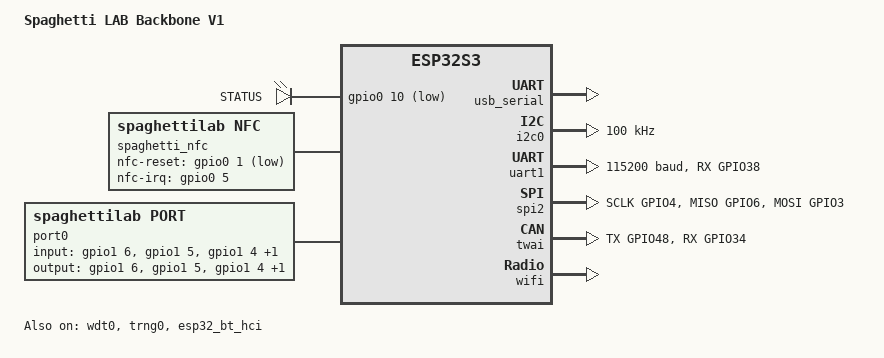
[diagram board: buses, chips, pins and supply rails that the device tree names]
/*
 * Spaghetti LAB Backbone V1, ESP32-S3-MINI-1 (U19) PROCPU.
 * Pins from hardware/backbone/backbone.kicad_sch.
 */

/dts-v1/;

#include <espressif/esp32s3/esp32s3_mini_n8.dtsi>
#include <espressif/partitions_0x0_default.dtsi>
#include <zephyr/dt-bindings/pinctrl/esp-pinctrl-common.h>
#include <zephyr/dt-bindings/pinctrl/esp32s3-pinctrl.h>
#include <zephyr/dt-bindings/pinctrl/esp32s3-gpio-sigmap.h>

/ {
	model = "Spaghetti LAB Backbone V1";
	compatible = "spaghettilab,backbone-v1", "espressif,esp32s3";

	chosen {
		zephyr,sram = &sram1;
		zephyr,console = &usb_serial;
		zephyr,shell-uart = &usb_serial;
		zephyr,flash = &flash0;
		zephyr,code-partition = &slot0_partition;
		zephyr,uart-mcumgr = &uart1;
		zephyr,bt-hci = &esp32_bt_hci;
	};

	aliases {
		i2c-0 = &i2c0;
		led0 = &status_led;
		watchdog0 = &wdt0;
	};

	leds {
		compatible = "gpio-leds";

		/*
		 * D5 LED0603-RD, cathode on GPIO10, active low.
		 * Single red status LED; there is no RGB / SK6812 on this board.
		 */
		status_led: status_led {
			gpios = <&gpio0 10 GPIO_ACTIVE_LOW>;
			label = "STATUS";
		};
	};

	/*
	 * ST25R100 U15 control lines. SPI wires live on spi2 / nfc_spi_default.
	 * RST GPIO1, IRQ GPIO5, CS GPIO2 (cs-gpios on spi2).
	 */
	spaghetti_nfc: spaghetti_nfc {
		compatible = "spaghettilab,nfc";
		nfc-reset-gpios = <&gpio0 1 GPIO_ACTIVE_LOW>;
		nfc-irq-gpios = <&gpio0 5 GPIO_ACTIVE_HIGH>;
	};

	spaghetti_ports {
		compatible = "simple-bus";
		#address-cells = <1>;
		#size-cells = <0>;

		/* J8 A0/A1 GPIO38/37, J10 A2/A3 GPIO36/35. I2C/maintenance on A0/A1. */
		port0: port@0 {
			compatible = "spaghettilab,port";
			reg = <0>;
			i2c = <&i2c0>;
			input-gpios = <&gpio1 6 GPIO_ACTIVE_HIGH>,
				      <&gpio1 5 GPIO_ACTIVE_HIGH>,
				      <&gpio1 4 GPIO_ACTIVE_HIGH>,
				      <&gpio1 3 GPIO_ACTIVE_HIGH>;
			output-gpios = <&gpio1 6 GPIO_ACTIVE_HIGH>,
				       <&gpio1 5 GPIO_ACTIVE_HIGH>,
				       <&gpio1 4 GPIO_ACTIVE_HIGH>,
				       <&gpio1 3 GPIO_ACTIVE_HIGH>;
			status = "okay";
		};

		/* SN65HVD230 U2: TX GPIO48, RX GPIO34. */
		port1: port@1 {
			compatible = "spaghettilab,port";
			reg = <1>;
			can = <&twai>;
			status = "okay";
		};
	};

	spaghetti_flows {
		compatible = "simple-bus";
		#address-cells = <1>;
		#size-cells = <0>;

		flow0: flow@0 {
			compatible = "spaghettilab,flow";
			reg = <0>;
			port = <&port0>;
			direction = "bidirectional";
			signal-count = <5>;
			function-bay-count = <0>;
			status = "okay";
		};

		flow1: flow@1 {
			compatible = "spaghettilab,flow";
			reg = <1>;
			port = <&port1>;
			direction = "bidirectional";
			signal-count = <5>;
			function-bay-count = <0>;
			status = "okay";
		};
	};

	maintenance_link0: maintenance-link {
		compatible = "spaghettilab,maintenance-link";
		normal-bus = <&i2c0>;
		maintenance-uart = <&uart1>;
		bootstrap-window-ms = <500>;
		status = "okay";
	};
};

&pinctrl {
	spaghetti_i2c0_default: spaghetti_i2c0_default {
		group1 {
			pinmux = <I2C0_SDA_GPIO38>, <I2C0_SCL_GPIO37>;
			bias-pull-up;
			drive-open-drain;
			output-high;
		};
	};

	spaghetti_uart1_maintenance: spaghetti_uart1_maintenance {
		group1 {
			pinmux = <UART1_RX_GPIO38>, <UART1_TX_GPIO37>;
		};
	};

	spaghetti_uart1_probe: spaghetti_uart1_probe {
		group1 {
			pinmux = <UART1_RX_GPIO38>;
			bias-pull-up;
		};
	};

	/* ST25R100 U15: SCK GPIO4, MOSI GPIO3, MISO GPIO6. CS GPIO2 is cs-gpios. */
	nfc_spi_default: nfc_spi_default {
		group1 {
			pinmux = <SPIM2_SCLK_GPIO4>, <SPIM2_MISO_GPIO6>;
		};

		group2 {
			pinmux = <SPIM2_MOSI_GPIO3>;
			output-low;
		};
	};

	spaghetti_twai_default: spaghetti_twai_default {
		group1 {
			pinmux = <TWAI_TX_GPIO48>, <TWAI_RX_GPIO34>;
		};
	};
};

&usb_serial {
	status = "okay";
};

&i2c0 {
	status = "okay";
	clock-frequency = <I2C_BITRATE_STANDARD>;
	pinctrl-0 = <&spaghetti_i2c0_default>;
	pinctrl-names = "default";
};

&uart1 {
	status = "okay";
	current-speed = <115200>;
	pinctrl-0 = <&spaghetti_uart1_probe>;
	pinctrl-1 = <&spaghetti_uart1_maintenance>;
	pinctrl-names = "default", "sleep";
};

&spi2 {
	#address-cells = <1>;
	#size-cells = <0>;
	status = "okay";
	pinctrl-0 = <&nfc_spi_default>;
	pinctrl-names = "default";
	cs-gpios = <&gpio0 2 GPIO_ACTIVE_LOW>;
};

&twai {
	status = "okay";
	pinctrl-0 = <&spaghetti_twai_default>;
	pinctrl-names = "default";
};

&gpio0 {
	status = "okay";
};

&gpio1 {
	status = "okay";
};

&wdt0 {
	status = "okay";
};

&trng0 {
	status = "okay";
};

&wifi {
	status = "okay";
};

&esp32_bt_hci {
	status = "okay";
};
